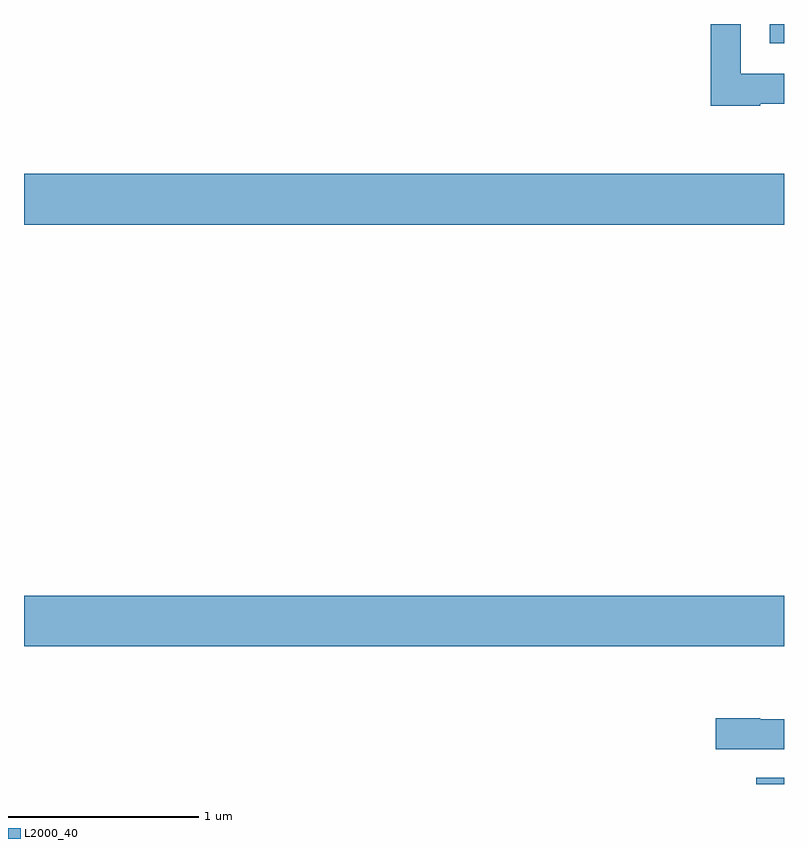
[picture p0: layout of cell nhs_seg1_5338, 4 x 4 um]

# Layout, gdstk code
import gdstk
lib = gdstk.Library(unit=1e-6, precision=1e-09)
def R(c, l, rs):  # rectangles x0, y0, x1, y1
    for r in rs: c.add(gdstk.rectangle(r[:2], r[2:], *l))
def P(c, l, *ps):  # polygons
    for p in ps: c.add(gdstk.Polygon(p, *l))
L2000_40 = (2000, 40)

nhs_seg1_5338 = lib.new_cell('nhs_seg1_5338')
R(nhs_seg1_5338, L2000_40, [(349.466,927.712,349.611,927.744), (345.611,928.436,349.611,928.704), (345.611,930.656,349.611,930.924), (349.536,931.611,349.611,931.712)])
P(nhs_seg1_5338, L2000_40, [(349.485,931.291),(349.611,931.291),(349.611,931.449),(349.384,931.449),(349.384,931.712),(349.226,931.712),(349.226,931.281),(349.485,931.281)],
  [(349.611,928.054),(349.485,928.054),(349.485,928.059),(349.253,928.059),(349.253,927.896),(349.611,927.896)])

lib.write_gds('nhs_seg1_5338.gds')
